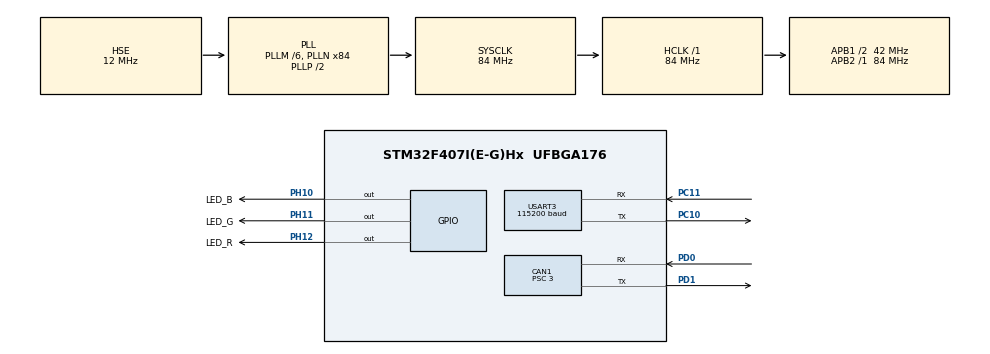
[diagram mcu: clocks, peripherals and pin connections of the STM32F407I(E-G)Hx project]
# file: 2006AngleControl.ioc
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CAN1.BS1=CAN_BS1_10TQ
CAN1.BS2=CAN_BS2_3TQ
CAN1.CalculateBaudRate=1000000
CAN1.CalculateTimeBit=1000
CAN1.CalculateTimeQuantum=71.42857142857143
CAN1.Prescaler=3
Dma.Request0=USART3_RX
Dma.Request1=USART3_TX
Dma.USART3_RX.0.Direction=DMA_PERIPH_TO_MEMORY
Dma.USART3_RX.0.FIFOMode=DMA_FIFOMODE_DISABLE
Dma.USART3_RX.0.Instance=DMA1_Stream1
Dma.USART3_RX.0.MemDataAlignment=DMA_MDATAALIGN_BYTE
Dma.USART3_RX.0.MemInc=DMA_MINC_ENABLE
Dma.USART3_RX.0.Mode=DMA_NORMAL
Dma.USART3_RX.0.PeriphDataAlignment=DMA_PDATAALIGN_BYTE
Dma.USART3_RX.0.PeriphInc=DMA_PINC_DISABLE
Dma.USART3_RX.0.Priority=DMA_PRIORITY_VERY_HIGH
Dma.USART3_TX.1.Direction=DMA_MEMORY_TO_PERIPH
Dma.USART3_TX.1.FIFOMode=DMA_FIFOMODE_DISABLE
Dma.USART3_TX.1.Instance=DMA1_Stream3
Dma.USART3_TX.1.MemDataAlignment=DMA_MDATAALIGN_BYTE
Dma.USART3_TX.1.MemInc=DMA_MINC_ENABLE
Dma.USART3_TX.1.Mode=DMA_NORMAL
Dma.USART3_TX.1.PeriphDataAlignment=DMA_PDATAALIGN_BYTE
Dma.USART3_TX.1.PeriphInc=DMA_PINC_DISABLE
Dma.USART3_TX.1.Priority=DMA_PRIORITY_VERY_HIGH
Mcu.Family=STM32F4
Mcu.Name=STM32F407I(E-G)Hx
Mcu.Package=UFBGA176
NVIC.CAN1_RX0_IRQn=true\:0\:0\:false\:false\:true\:true\:true\:true
NVIC.CAN1_TX_IRQn=true\:0\:0\:false\:false\:true\:true\:true\:true
NVIC.DMA1_Stream1_IRQn=true\:0\:0\:false\:false\:true\:false\:true\:true
NVIC.DMA1_Stream3_IRQn=true\:0\:0\:false\:false\:true\:false\:true\:true
NVIC.PriorityGroup=NVIC_PRIORITYGROUP_4
NVIC.USART3_IRQn=true\:0\:0\:false\:false\:true\:true\:true\:true
PA13.Mode=Serial_Wire
PA13.Signal=SYS_JTMS-SWDIO
PA14.Mode=Serial_Wire
PA14.Signal=SYS_JTCK-SWCLK
PC10.Mode=Asynchronous
PC10.Signal=USART3_TX
PC11.Mode=Asynchronous
PC11.Signal=USART3_RX
PD0.Mode=CAN_Activate
PD0.Signal=CAN1_RX
PD1.Mode=CAN_Activate
PD1.Signal=CAN1_TX
PH0-OSC_IN.Mode=HSE-External-Oscillator
PH0-OSC_IN.Signal=RCC_OSC_IN
PH1-OSC_OUT.Mode=HSE-External-Oscillator
PH1-OSC_OUT.Signal=RCC_OSC_OUT
PH10.GPIO_Label=LED_B
PH10.Signal=GPIO_Output
PH11.GPIO_Label=LED_G
PH11.Signal=GPIO_Output
PH12.GPIO_Label=LED_R
PH12.Signal=GPIO_Output
ProjectManager.HeapSize=0x200
ProjectManager.StackSize=0x400
ProjectManager.TargetToolchain=MDK-ARM V5.32
RCC.48MHZClocksFreq_Value=42000000
RCC.AHBFreq_Value=84000000
RCC.APB1CLKDivider=RCC_HCLK_DIV2
RCC.APB1Freq_Value=42000000
RCC.APB1TimFreq_Value=84000000
RCC.APB2Freq_Value=84000000
RCC.APB2TimFreq_Value=84000000
RCC.CortexFreq_Value=84000000
RCC.HCLKFreq_Value=84000000
RCC.HSE_VALUE=12000000
RCC.HSI_VALUE=16000000
RCC.LSE_VALUE=32768
RCC.PLLM=6
RCC.PLLN=84
RCC.PLLSourceVirtual=RCC_PLLSOURCE_HSE
RCC.SYSCLKFreq_VALUE=84000000
RCC.SYSCLKSource=RCC_SYSCLKSOURCE_PLLCLK
RCC.VCOOutputFreq_Value=168000000
USART3.BaudRate=115200
USART3.Parity=PARITY_NONE
USART3.VirtualMode=VM_ASYNC
board=custom

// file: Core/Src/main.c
/* USER CODE BEGIN Header */
/**
  ******************************************************************************
  * @file           : main.c
  * @brief          : Main program body
  ******************************************************************************
  * @attention
  *
  * Copyright (c) 2023 STMicroelectronics.
  * All rights reserved.
  *
  * This software is licensed under terms that can be found in the LICENSE file
  * in the root directory of this software component.
  * If no LICENSE file comes with this software, it is provided AS-IS.
  *
  ******************************************************************************
  */
/* USER CODE END Header */
#include "main.h"
#include "can.h"
#include "dma.h"
#include "usart.h"
#include "gpio.h"

/* USER CODE BEGIN Includes */
#include "drv_can.h"
#include "pid.h"
#include "led.h"
#include "drv_usart.h"
#include "rc_potocal.h"
/* USER CODE END Includes */

/* USER CODE BEGIN PV */
pid_struct_t motor_pid[MOTOR_MAX_NUM];
cascadepid_struct_t motor_cascadepid[MOTOR_MAX_NUM];

extern moto_info_t motor_info[MOTOR_MAX_NUM];

extern float RealSetAngle[MOTOR_MAX_NUM];

extern int Modechoice;
/* USER CODE END PV */

void SystemClock_Config(void);

int main(void)
{

  /* MCU Configuration--------------------------------------------------------*/

  /* Reset of all peripherals, Initializes the Flash interface and the Systick. */
  HAL_Init();

  /* Configure the system clock */
  SystemClock_Config();

  /* Initialize all configured peripherals */
  MX_GPIO_Init();
  MX_DMA_Init();
  MX_CAN1_Init();
  MX_USART3_UART_Init();
  /* USER CODE BEGIN 2 */
	USART3_Init();
  can_user_init(&hcan1);
  LED_RED_TOGGLE();

	for(int i=0;i<MOTOR_MAX_NUM;i++)
	{
		pid_init(&motor_cascadepid[i].inner,10,0,0,5000,10000);
		pid_init(&motor_cascadepid[i].outer,15,0,2,5000,10000);
	}
  /* USER CODE END 2 */

  /* Infinite loop */
  while (1)
  {

    /* USER CODE BEGIN 3 */

		for(int i=0;i<MOTOR_MAX_NUM;i++)
		{

			if(RealSetAngle[i]-motor_info[i].rotor_angle>180)
			{
				RealSetAngle[i]-=360;
			}
			else if(RealSetAngle[i]-motor_info[i].rotor_angle<-180)
			{
				RealSetAngle[i]+=360;
			}

			motor_info[i].set_voltage=cascadepid_calc(&motor_cascadepid[i],RealSetAngle[i],motor_info[i].rotor_angle,motor_info[i].rotor_speed);
		}

		set_motor_voltage(0,
									motor_info[0].set_voltage,
									motor_info[1].set_voltage,
									motor_info[2].set_voltage,
									motor_info[3].set_voltage);
		HAL_Delay(100);

  }
  /* USER CODE END 3 */
}

void SystemClock_Config(void)
{
  RCC_OscInitTypeDef RCC_OscInitStruct = {0};
  RCC_ClkInitTypeDef RCC_ClkInitStruct = {0};

  /** Configure the main internal regulator output voltage
  */
  __HAL_RCC_PWR_CLK_ENABLE();
  __HAL_PWR_VOLTAGESCALING_CONFIG(PWR_REGULATOR_VOLTAGE_SCALE1);

  /** Initializes the RCC Oscillators according to the specified parameters
  * in the RCC_OscInitTypeDef structure.
  */
  RCC_OscInitStruct.OscillatorType = RCC_OSCILLATORTYPE_HSE;
  RCC_OscInitStruct.HSEState = RCC_HSE_ON;
  RCC_OscInitStruct.PLL.PLLState = RCC_PLL_ON;
  RCC_OscInitStruct.PLL.PLLSource = RCC_PLLSOURCE_HSE;
  RCC_OscInitStruct.PLL.PLLM = 6;
  RCC_OscInitStruct.PLL.PLLN = 84;
  RCC_OscInitStruct.PLL.PLLP = RCC_PLLP_DIV2;
  RCC_OscInitStruct.PLL.PLLQ = 4;
  if (HAL_RCC_OscConfig(&RCC_OscInitStruct) != HAL_OK)
  {
    Error_Handler();
  }

  /** Initializes the CPU, AHB and APB buses clocks
  */
  RCC_ClkInitStruct.ClockType = RCC_CLOCKTYPE_HCLK|RCC_CLOCKTYPE_SYSCLK
                              |RCC_CLOCKTYPE_PCLK1|RCC_CLOCKTYPE_PCLK2;
  RCC_ClkInitStruct.SYSCLKSource = RCC_SYSCLKSOURCE_PLLCLK;
  RCC_ClkInitStruct.AHBCLKDivider = RCC_SYSCLK_DIV1;
  RCC_ClkInitStruct.APB1CLKDivider = RCC_HCLK_DIV2;
  RCC_ClkInitStruct.APB2CLKDivider = RCC_HCLK_DIV1;

  if (HAL_RCC_ClockConfig(&RCC_ClkInitStruct, FLASH_LATENCY_2) != HAL_OK)
  {
    Error_Handler();
  }
}

void Error_Handler(void)
{
  __disable_irq();
  while (1)
  {
  }
}
